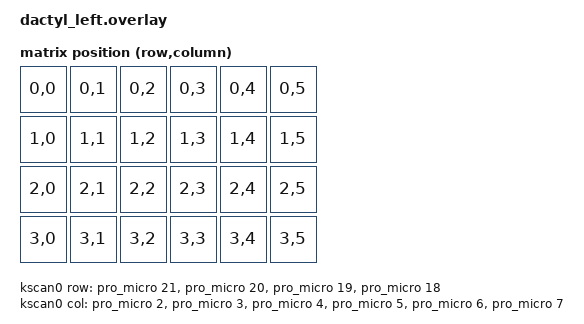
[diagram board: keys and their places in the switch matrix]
#include <dt-bindings/zmk/matrix_transform.h>

/ {
    chosen {
        zmk,kscan = &kscan0;
        zmk,matrix-transform = &default_transform;
    };

    kscan0: kscan0 {
        compatible = "zmk,kscan-gpio-matrix";
        diode-direction = "col2row";
        wakeup-source;

        /* QMK cols: D1 D0 D4 C6 D7 E6 -> Pro Micro pins 2 3 4 5 6 7 */
        col-gpios
            = <&pro_micro 2 GPIO_ACTIVE_HIGH>
            , <&pro_micro 3 GPIO_ACTIVE_HIGH>
            , <&pro_micro 4 GPIO_ACTIVE_HIGH>
            , <&pro_micro 5 GPIO_ACTIVE_HIGH>
            , <&pro_micro 6 GPIO_ACTIVE_HIGH>
            , <&pro_micro 7 GPIO_ACTIVE_HIGH>
            ;

        /* QMK rows: F4 F5 F6 F7 -> Pro Micro A3 A2 A1 A0 (pins 21 20 19 18) */
        row-gpios
            = <&pro_micro 21 (GPIO_ACTIVE_HIGH | GPIO_PULL_DOWN)>
            , <&pro_micro 20 (GPIO_ACTIVE_HIGH | GPIO_PULL_DOWN)>
            , <&pro_micro 19 (GPIO_ACTIVE_HIGH | GPIO_PULL_DOWN)>
            , <&pro_micro 18 (GPIO_ACTIVE_HIGH | GPIO_PULL_DOWN)>
            ;
    };

    default_transform: keymap_transform_0 {
        compatible = "zmk,matrix-transform";
        columns = <6>;
        rows = <4>;
        map = <
            RC(0,0) RC(0,1) RC(0,2) RC(0,3) RC(0,4) RC(0,5)
            RC(1,0) RC(1,1) RC(1,2) RC(1,3) RC(1,4) RC(1,5)
            RC(2,0) RC(2,1) RC(2,2) RC(2,3) RC(2,4) RC(2,5)
            RC(3,0) RC(3,1) RC(3,2) RC(3,3) RC(3,4) RC(3,5)
        >;
    };
};
